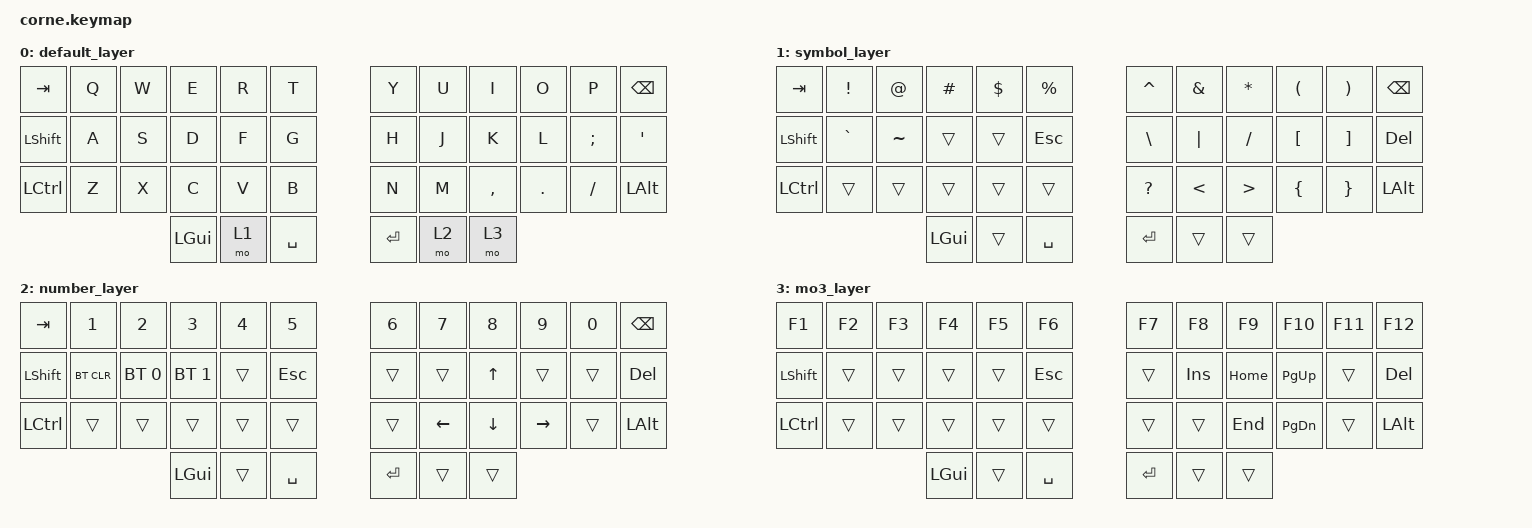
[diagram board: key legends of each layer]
#include <behaviors.dtsi>
#include <dt-bindings/zmk/keys.h>
#include <dt-bindings/zmk/bt.h>

/ {
    keymap {
        compatible = "zmk,keymap";

        default_layer {
            bindings = <
    &kp TAB    &kp Q    &kp W    &kp E    &kp R    &kp T        &kp Y    &kp U    &kp I    &kp O    &kp P    &kp BSPC
    &kp LSHFT  &kp A    &kp S    &kp D    &kp F    &kp G        &kp H    &kp J    &kp K    &kp L    &kp SEMI &kp SQT
    &kp LCTRL  &kp Z    &kp X    &kp C    &kp V    &kp B        &kp N    &kp M    &kp COMMA &kp DOT  &kp FSLH &kp LALT
                       &kp LGUI &mo 1   &kp SPACE             &kp RET  &mo 2    &mo 3
            >;
        };

        symbol_layer {
            bindings = <
    &kp TAB    &kp EXCL &kp AT   &kp HASH &kp DLLR &kp PRCNT   &kp CARET &kp AMPS &kp ASTRK &kp LPRN &kp RPRN &kp BSPC
    &kp LSHFT  &kp GRAVE &kp TILDE &trans  &trans   &kp ESC     &kp BSLH &kp PIPE &kp FSLH &kp LBKT &kp RBKT &kp DEL
    &kp LCTRL  &trans   &trans   &trans   &trans   &trans      &kp QMARK &kp LT  &kp GT   &kp LBRC &kp RBRC &kp LALT
                       &kp LGUI &trans   &kp SPACE             &kp RET  &trans   &trans
            >;
        };

        number_layer {
            bindings = <
    &kp TAB    &kp N1   &kp N2   &kp N3   &kp N4   &kp N5      &kp N6   &kp N7   &kp N8   &kp N9   &kp N0   &kp BSPC
    &kp LSHFT  &bt BT_CLR &bt BT_SEL 0 &bt BT_SEL 1 &trans &kp ESC  &trans   &trans   &kp UP   &trans   &trans   &kp DEL
    &kp LCTRL  &trans   &trans   &trans   &trans   &trans      &trans   &kp LEFT &kp DOWN &kp RIGHT &trans   &kp LALT
                       &kp LGUI &trans   &kp SPACE             &kp RET  &trans   &trans
            >;
        };

        mo3_layer {
            bindings = <
    &kp F1     &kp F2   &kp F3   &kp F4   &kp F5   &kp F6      &kp F7   &kp F8   &kp F9   &kp F10  &kp F11  &kp F12
    &kp LSHFT  &trans   &trans   &trans   &trans   &kp ESC     &trans   &kp INS  &kp HOME &kp PG_UP &trans   &kp DEL
    &kp LCTRL  &trans   &trans   &trans   &trans   &trans      &trans   &trans   &kp END  &kp PG_DN &trans   &kp LALT
                       &kp LGUI &trans   &kp SPACE             &kp RET  &trans   &trans
            >;
        };
    };
};
